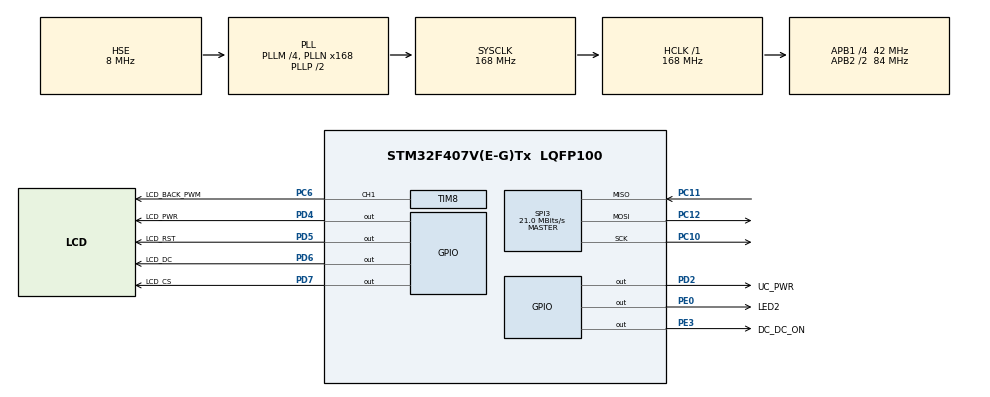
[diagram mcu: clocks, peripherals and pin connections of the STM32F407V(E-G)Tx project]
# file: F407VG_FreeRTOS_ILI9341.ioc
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FREERTOS.Tasks01=Task0,0,128,StartDefaultTask,Default,NULL,Dynamic,NULL,NULL;Task1,-1,128,StartTask02,Default,NULL,Dynamic,NULL,NULL
FREERTOS.configUSE_NEWLIB_REENTRANT=1
IWDG.Prescaler=IWDG_PRESCALER_32
Mcu.Family=STM32F4
Mcu.Name=STM32F407V(E-G)Tx
Mcu.Package=LQFP100
NVIC.PriorityGroup=NVIC_PRIORITYGROUP_4
NVIC.TIM8_TRG_COM_TIM14_IRQn=true\:15\:0\:false\:false\:true\:false\:false\:true\:true
NVIC.TimeBase=TIM8_TRG_COM_TIM14_IRQn
NVIC.TimeBaseIP=TIM14
PC10.Mode=Full_Duplex_Master
PC10.Signal=SPI3_SCK
PC11.Mode=Full_Duplex_Master
PC11.Signal=SPI3_MISO
PC12.Mode=Full_Duplex_Master
PC12.Signal=SPI3_MOSI
PC6.GPIO_Label=LCD_BACK_PWM
PC6.Signal=S_TIM8_CH1
PD2.GPIO_Label=UC_PWR
PD2.GPIO_Speed=GPIO_SPEED_FREQ_VERY_HIGH
PD2.PinState=GPIO_PIN_SET
PD2.Signal=GPIO_Output
PD4.GPIO_Label=LCD_PWR
PD4.GPIO_Speed=GPIO_SPEED_FREQ_VERY_HIGH
PD4.PinState=GPIO_PIN_SET
PD4.Signal=GPIO_Output
PD5.GPIO_Label=LCD_RST
PD5.GPIO_Speed=GPIO_SPEED_FREQ_VERY_HIGH
PD5.Signal=GPIO_Output
PD6.GPIO_Label=LCD_DC
PD6.GPIO_Speed=GPIO_SPEED_FREQ_VERY_HIGH
PD6.Signal=GPIO_Output
PD7.GPIO_Label=LCD_CS
PD7.GPIO_Speed=GPIO_SPEED_FREQ_VERY_HIGH
PD7.PinState=GPIO_PIN_SET
PD7.Signal=GPIO_Output
PE0.GPIO_Label=LED2
PE0.GPIO_Speed=GPIO_SPEED_FREQ_VERY_HIGH
PE0.Signal=GPIO_Output
PE3.GPIO_Label=DC_DC_ON
PE3.PinState=GPIO_PIN_SET
PE3.Signal=GPIO_Output
PH0-OSC_IN.Mode=HSE-External-Oscillator
PH0-OSC_IN.Signal=RCC_OSC_IN
PH1-OSC_OUT.Mode=HSE-External-Oscillator
PH1-OSC_OUT.Signal=RCC_OSC_OUT
ProjectManager.HeapSize=0x200
ProjectManager.StackSize=0x400
ProjectManager.TargetToolchain=STM32CubeIDE
RCC.48MHZClocksFreq_Value=84000000
RCC.AHBFreq_Value=168000000
RCC.APB1CLKDivider=RCC_HCLK_DIV4
RCC.APB1Freq_Value=42000000
RCC.APB1TimFreq_Value=84000000
RCC.APB2CLKDivider=RCC_HCLK_DIV2
RCC.APB2Freq_Value=84000000
RCC.APB2TimFreq_Value=168000000
RCC.CortexFreq_Value=168000000
RCC.HCLKFreq_Value=168000000
RCC.HSE_VALUE=8000000
RCC.HSI_VALUE=16000000
RCC.LSE_VALUE=32768
RCC.PLLM=4
RCC.PLLN=168
RCC.PLLSourceVirtual=RCC_PLLSOURCE_HSE
RCC.SYSCLKFreq_VALUE=168000000
RCC.SYSCLKSource=RCC_SYSCLKSOURCE_PLLCLK
RCC.VCOOutputFreq_Value=336000000
SH.S_TIM8_CH1.0=TIM8_CH1,PWM Generation1 CH1
SPI3.BaudRatePrescaler=SPI_BAUDRATEPRESCALER_2
SPI3.CalculateBaudRate=21.0 MBits/s
SPI3.Direction=SPI_DIRECTION_2LINES
SPI3.Mode=SPI_MODE_MASTER
SPI3.VirtualType=VM_MASTER
TIM8.Channel-PWM\ Generation1\ CH1=TIM_CHANNEL_1
TIM8.Period=1023
TIM8.Prescaler=1
VP_FREERTOS_VS_CMSIS_V1.Mode=CMSIS_V1
VP_IWDG_VS_IWDG.Mode=IWDG_Activate
VP_SYS_VS_tim14.Mode=TIM14
board=custom

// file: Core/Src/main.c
/* USER CODE BEGIN Header */
/**
 ******************************************************************************
 * @file           : main.c
 * @brief          : Main program body
 ******************************************************************************
 * @attention
 *
 * Copyright (c) 2022 STMicroelectronics.
 * All rights reserved.
 *
 * This software is licensed under terms that can be found in the LICENSE file
 * in the root directory of this software component.
 * If no LICENSE file comes with this software, it is provided AS-IS.
 *
 ******************************************************************************
 */
/* USER CODE END Header */
#include "main.h"
#include "cmsis_os.h"

/* USER CODE BEGIN Includes */
#include <string.h>

#include "ILI9341.h"
#include "IWDG_Delay.h"
/* USER CODE END Includes */

IWDG_HandleTypeDef hiwdg;

SPI_HandleTypeDef hspi3;

TIM_HandleTypeDef htim8;

osThreadId Task0Handle;
osThreadId Task1Handle;

void SystemClock_Config(void);
static void MX_GPIO_Init(void);
static void MX_SPI3_Init(void);
static void MX_TIM8_Init(void);
static void MX_IWDG_Init(void);
void StartDefaultTask(void const *argument);
void StartTask02(void const *argument);

/* USER CODE BEGIN PFP */
void user_pwm_setvalue(uint16_t value);
/* USER CODE END PFP */

int main(void) {

	/* MCU Configuration--------------------------------------------------------*/

	/* Reset of all peripherals, Initializes the Flash interface and the Systick. */
	HAL_Init();

	/* Configure the system clock */
	SystemClock_Config();

	/* Initialize all configured peripherals */
	MX_GPIO_Init();
	MX_SPI3_Init();
	MX_TIM8_Init();
	MX_IWDG_Init();
	/* USER CODE BEGIN 2 */
	user_pwm_setvalue(1023); // LCD_BACK_PWM (0 ~ 1023)

	ILI9341_Unselect();

	IWDG_delay_ms(5);

	ILI9341_Init();

	//ILI9341_FillScreen(ILI9341_BLACK);
	/* USER CODE END 2 */

	/* Create the thread(s) */
	/* definition and creation of Task0 */
	osThreadDef(Task0, StartDefaultTask, osPriorityNormal, 0, 128);
	Task0Handle = osThreadCreate(osThread(Task0), NULL);

	/* definition and creation of Task1 */
	osThreadDef(Task1, StartTask02, osPriorityBelowNormal, 0, 128);
	Task1Handle = osThreadCreate(osThread(Task1), NULL);

	/* Start scheduler */
	osKernelStart();

	/* We should never get here as control is now taken by the scheduler */
	/* Infinite loop */
	while (1) {

		/* USER CODE BEGIN 3 */
//		HAL_GPIO_TogglePin(GPIOE, LED2_Pin);
//
//		ILI9341_FillScreen(ILI9341_RED);
//
//		IWDG_delay_ms(3000); // Included: IWDG_reset();
//
//		ILI9341_FillScreen(ILI9341_GREEN);
//
//		IWDG_delay_ms(3000);
//
//		ILI9341_FillScreen(ILI9341_BLUE);
//
//		IWDG_delay_ms(3000);
	}
	/* USER CODE END 3 */
}

void SystemClock_Config(void) {
	RCC_OscInitTypeDef RCC_OscInitStruct = { 0 };
	RCC_ClkInitTypeDef RCC_ClkInitStruct = { 0 };

	/** Configure the main internal regulator output voltage
	 */
	__HAL_RCC_PWR_CLK_ENABLE();
	__HAL_PWR_VOLTAGESCALING_CONFIG(PWR_REGULATOR_VOLTAGE_SCALE1);

	/** Initializes the RCC Oscillators according to the specified parameters
	 * in the RCC_OscInitTypeDef structure.
	 */
	RCC_OscInitStruct.OscillatorType = RCC_OSCILLATORTYPE_LSI
			| RCC_OSCILLATORTYPE_HSE;
	RCC_OscInitStruct.HSEState = RCC_HSE_ON;
	RCC_OscInitStruct.LSIState = RCC_LSI_ON;
	RCC_OscInitStruct.PLL.PLLState = RCC_PLL_ON;
	RCC_OscInitStruct.PLL.PLLSource = RCC_PLLSOURCE_HSE;
	RCC_OscInitStruct.PLL.PLLM = 4;
	RCC_OscInitStruct.PLL.PLLN = 168;
	RCC_OscInitStruct.PLL.PLLP = RCC_PLLP_DIV2;
	RCC_OscInitStruct.PLL.PLLQ = 4;
	if (HAL_RCC_OscConfig(&RCC_OscInitStruct) != HAL_OK) {
		Error_Handler();
	}

	/** Initializes the CPU, AHB and APB buses clocks
	 */
	RCC_ClkInitStruct.ClockType = RCC_CLOCKTYPE_HCLK | RCC_CLOCKTYPE_SYSCLK
			| RCC_CLOCKTYPE_PCLK1 | RCC_CLOCKTYPE_PCLK2;
	RCC_ClkInitStruct.SYSCLKSource = RCC_SYSCLKSOURCE_PLLCLK;
	RCC_ClkInitStruct.AHBCLKDivider = RCC_SYSCLK_DIV1;
	RCC_ClkInitStruct.APB1CLKDivider = RCC_HCLK_DIV4;
	RCC_ClkInitStruct.APB2CLKDivider = RCC_HCLK_DIV2;

	if (HAL_RCC_ClockConfig(&RCC_ClkInitStruct, FLASH_LATENCY_5) != HAL_OK) {
		Error_Handler();
	}
}

static void MX_IWDG_Init(void) {

	hiwdg.Instance = IWDG;
	hiwdg.Init.Prescaler = IWDG_PRESCALER_32;
	hiwdg.Init.Reload = 4095;
	if (HAL_IWDG_Init(&hiwdg) != HAL_OK) {
		Error_Handler();
	}

}

static void MX_SPI3_Init(void) {

	/* SPI3 parameter configuration*/
	hspi3.Instance = SPI3;
	hspi3.Init.Mode = SPI_MODE_MASTER;
	hspi3.Init.Direction = SPI_DIRECTION_2LINES;
	hspi3.Init.DataSize = SPI_DATASIZE_8BIT;
	hspi3.Init.CLKPolarity = SPI_POLARITY_LOW;
	hspi3.Init.CLKPhase = SPI_PHASE_1EDGE;
	hspi3.Init.NSS = SPI_NSS_SOFT;
	hspi3.Init.BaudRatePrescaler = SPI_BAUDRATEPRESCALER_2;
	hspi3.Init.FirstBit = SPI_FIRSTBIT_MSB;
	hspi3.Init.TIMode = SPI_TIMODE_DISABLE;
	hspi3.Init.CRCCalculation = SPI_CRCCALCULATION_DISABLE;
	hspi3.Init.CRCPolynomial = 10;
	if (HAL_SPI_Init(&hspi3) != HAL_OK) {
		Error_Handler();
	}

}

static void MX_TIM8_Init(void) {

	TIM_MasterConfigTypeDef sMasterConfig = { 0 };
	TIM_OC_InitTypeDef sConfigOC = { 0 };
	TIM_BreakDeadTimeConfigTypeDef sBreakDeadTimeConfig = { 0 };

	htim8.Instance = TIM8;
	htim8.Init.Prescaler = 1;
	htim8.Init.CounterMode = TIM_COUNTERMODE_UP;
	htim8.Init.Period = 1023;
	htim8.Init.ClockDivision = TIM_CLOCKDIVISION_DIV1;
	htim8.Init.RepetitionCounter = 0;
	htim8.Init.AutoReloadPreload = TIM_AUTORELOAD_PRELOAD_DISABLE;
	if (HAL_TIM_PWM_Init(&htim8) != HAL_OK) {
		Error_Handler();
	}
	sMasterConfig.MasterOutputTrigger = TIM_TRGO_RESET;
	sMasterConfig.MasterSlaveMode = TIM_MASTERSLAVEMODE_DISABLE;
	if (HAL_TIMEx_MasterConfigSynchronization(&htim8, &sMasterConfig)
			!= HAL_OK) {
		Error_Handler();
	}
	sConfigOC.OCMode = TIM_OCMODE_PWM1;
	sConfigOC.Pulse = 0;
	sConfigOC.OCPolarity = TIM_OCPOLARITY_HIGH;
	sConfigOC.OCNPolarity = TIM_OCNPOLARITY_HIGH;
	sConfigOC.OCFastMode = TIM_OCFAST_DISABLE;
	sConfigOC.OCIdleState = TIM_OCIDLESTATE_RESET;
	sConfigOC.OCNIdleState = TIM_OCNIDLESTATE_RESET;
	if (HAL_TIM_PWM_ConfigChannel(&htim8, &sConfigOC, TIM_CHANNEL_1)
			!= HAL_OK) {
		Error_Handler();
	}
	sBreakDeadTimeConfig.OffStateRunMode = TIM_OSSR_DISABLE;
	sBreakDeadTimeConfig.OffStateIDLEMode = TIM_OSSI_DISABLE;
	sBreakDeadTimeConfig.LockLevel = TIM_LOCKLEVEL_OFF;
	sBreakDeadTimeConfig.DeadTime = 0;
	sBreakDeadTimeConfig.BreakState = TIM_BREAK_DISABLE;
	sBreakDeadTimeConfig.BreakPolarity = TIM_BREAKPOLARITY_HIGH;
	sBreakDeadTimeConfig.AutomaticOutput = TIM_AUTOMATICOUTPUT_DISABLE;
	if (HAL_TIMEx_ConfigBreakDeadTime(&htim8, &sBreakDeadTimeConfig)
			!= HAL_OK) {
		Error_Handler();
	}
	HAL_TIM_MspPostInit(&htim8);

}

static void MX_GPIO_Init(void) {
	GPIO_InitTypeDef GPIO_InitStruct = { 0 };

	/* GPIO Ports Clock Enable */
	__HAL_RCC_GPIOE_CLK_ENABLE();
	__HAL_RCC_GPIOH_CLK_ENABLE();
	__HAL_RCC_GPIOC_CLK_ENABLE();
	__HAL_RCC_GPIOD_CLK_ENABLE();

	/*Configure GPIO pin Output Level */
	HAL_GPIO_WritePin(DC_DC_ON_GPIO_Port, DC_DC_ON_Pin, GPIO_PIN_SET);

	/*Configure GPIO pin Output Level */
	HAL_GPIO_WritePin(GPIOD, UC_PWR_Pin | LCD_PWR_Pin | LCD_CS_Pin,
			GPIO_PIN_SET);

	/*Configure GPIO pin Output Level */
	HAL_GPIO_WritePin(GPIOD, LCD_RST_Pin | LCD_DC_Pin, GPIO_PIN_RESET);

	/*Configure GPIO pin Output Level */
	HAL_GPIO_WritePin(LED2_GPIO_Port, LED2_Pin, GPIO_PIN_RESET);

	/*Configure GPIO pin : DC_DC_ON_Pin */
	GPIO_InitStruct.Pin = DC_DC_ON_Pin;
	GPIO_InitStruct.Mode = GPIO_MODE_OUTPUT_PP;
	GPIO_InitStruct.Pull = GPIO_NOPULL;
	GPIO_InitStruct.Speed = GPIO_SPEED_FREQ_LOW;
	HAL_GPIO_Init(DC_DC_ON_GPIO_Port, &GPIO_InitStruct);

	/*Configure GPIO pins : UC_PWR_Pin LCD_PWR_Pin LCD_RST_Pin LCD_DC_Pin
	 LCD_CS_Pin */
	GPIO_InitStruct.Pin = UC_PWR_Pin | LCD_PWR_Pin | LCD_RST_Pin | LCD_DC_Pin
			| LCD_CS_Pin;
	GPIO_InitStruct.Mode = GPIO_MODE_OUTPUT_PP;
	GPIO_InitStruct.Pull = GPIO_NOPULL;
	GPIO_InitStruct.Speed = GPIO_SPEED_FREQ_VERY_HIGH;
	HAL_GPIO_Init(GPIOD, &GPIO_InitStruct);

	/*Configure GPIO pin : LED2_Pin */
	GPIO_InitStruct.Pin = LED2_Pin;
	GPIO_InitStruct.Mode = GPIO_MODE_OUTPUT_PP;
	GPIO_InitStruct.Pull = GPIO_NOPULL;
	GPIO_InitStruct.Speed = GPIO_SPEED_FREQ_VERY_HIGH;
	HAL_GPIO_Init(LED2_GPIO_Port, &GPIO_InitStruct);

}

/* USER CODE BEGIN 4 */
void user_pwm_setvalue(uint16_t value) {
	TIM_OC_InitTypeDef sConfigOC;

	memset(&sConfigOC, 0, sizeof(sConfigOC));

	HAL_TIM_PWM_Stop(&htim8, TIM_CHANNEL_1);
	sConfigOC.OCMode = TIM_OCMODE_PWM1;
	sConfigOC.Pulse = value;
	sConfigOC.OCPolarity = TIM_OCPOLARITY_HIGH;
	sConfigOC.OCFastMode = TIM_OCFAST_DISABLE;
	HAL_TIM_PWM_ConfigChannel(&htim8, &sConfigOC, TIM_CHANNEL_1);
	HAL_TIM_PWM_Start(&htim8, TIM_CHANNEL_1);
}
/* USER CODE END 4 */

void StartDefaultTask(void const *argument) {
	/* USER CODE BEGIN 5 */
	/* Infinite loop */
	for (;;) {
		ILI9341_FillScreen(ILI9341_RED);

		IWDG_osDelay(3000); // Included: IWDG_reset(), osDelay()

		ILI9341_FillScreen(ILI9341_GREEN);

		IWDG_osDelay(3000);

		ILI9341_FillScreen(ILI9341_BLUE);

		IWDG_osDelay(3000);
	}
	/* USER CODE END 5 */
}

void StartTask02(void const *argument) {
	/* USER CODE BEGIN StartTask02 */
	/* Infinite loop */
	for (;;) {
		HAL_GPIO_TogglePin(GPIOE, LED2_Pin);

		osDelay(500);
	}
	/* USER CODE END StartTask02 */
}

void HAL_TIM_PeriodElapsedCallback(TIM_HandleTypeDef *htim) {
	if (htim->Instance == TIM14) {
		HAL_IncTick();
	}
}

void Error_Handler(void) {
	__disable_irq();
	while (1) {
	}
}
